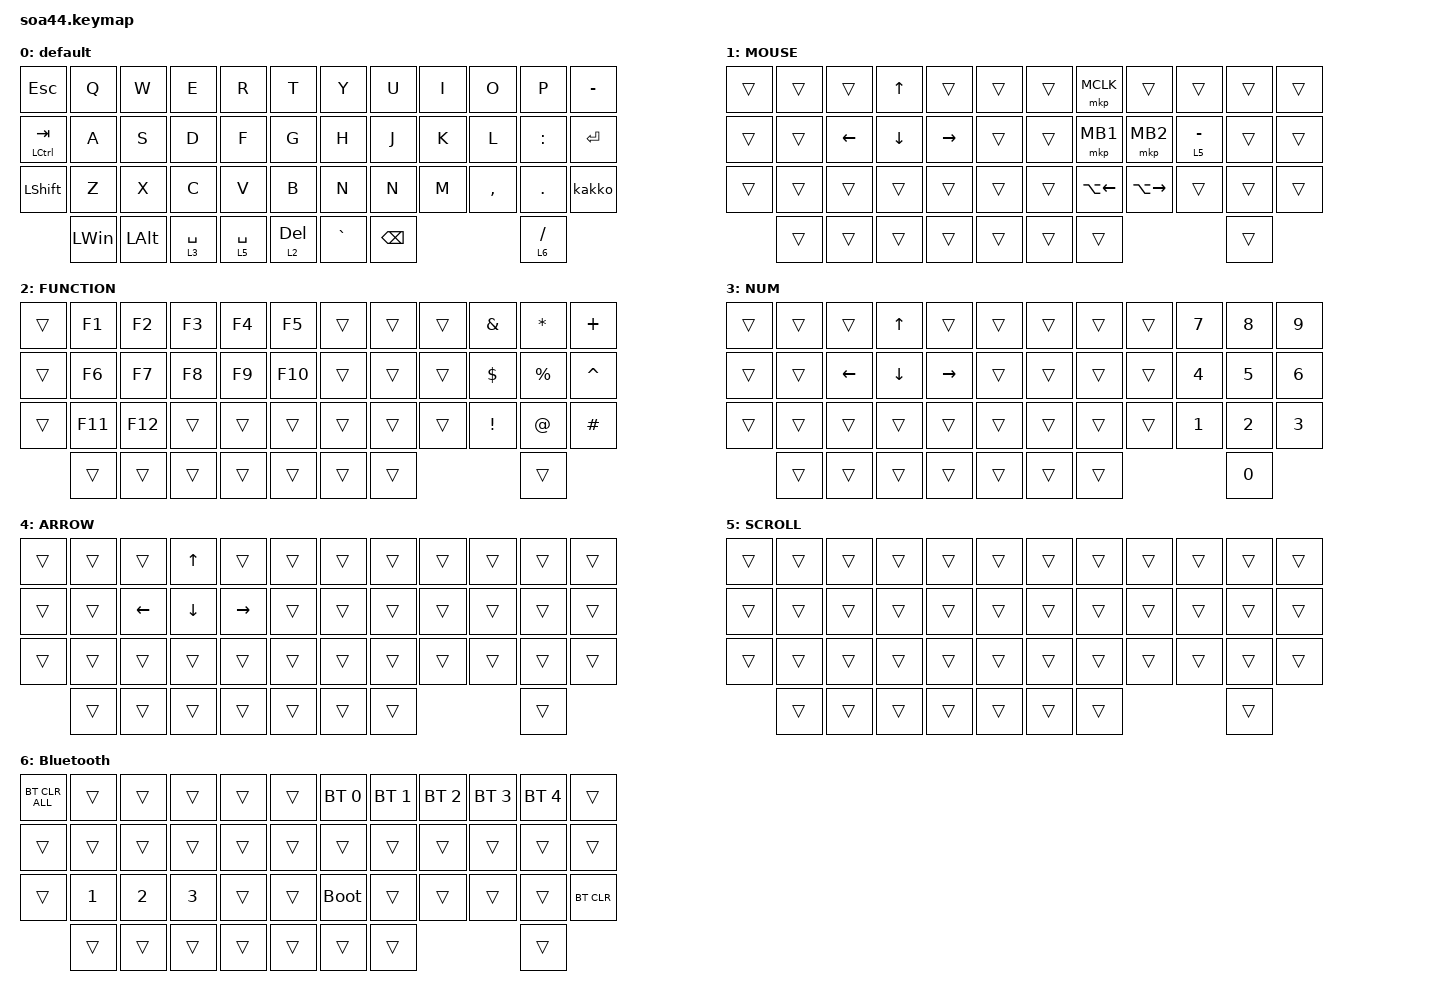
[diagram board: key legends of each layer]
#include <behaviors.dtsi>
#include <dt-bindings/zmk/bt.h>
#include <dt-bindings/zmk/keys.h>
#include <dt-bindings/zmk/pointing.h>

&mt {
    flavor = "balanced";
    quick-tap-ms = <0>;
};

/ {
    combos {
        compatible = "zmk,combos";

        tab {
            bindings = <&kp TAB>;
            key-positions = <11 12>;
        };

        shift_tab {
            bindings = <&kp LS(TAB)>;
            key-positions = <12 13>;
        };

        muhennkann {
            bindings = <&to_layer_0 INT_MUHENKAN>;
            key-positions = <11 10>;
        };

        double_quotation {
            bindings = <&kp DOUBLE_QUOTES>;
            key-positions = <20 21>;
        };

        eq {
            bindings = <&kp EQUAL>;
            key-positions = <24 25>;
        };
    };

    macros {
        to_layer_0: to_layer_0 {
            compatible = "zmk,behavior-macro-one-param";
            #binding-cells = <1>;
            bindings = <&to 0 &macro_param_1to1 &kp MACRO_PLACEHOLDER>;
            label = "TO_LAYER_0";
        };

        kakko: kakko {
            compatible = "zmk,behavior-macro";
            #binding-cells = <0>;
            bindings =
                <&kp LEFT_PARENTHESIS &kp RIGHT_PARENTHESIS>,
                <&macro_tap>,
                <&kp LEFT_ARROW>,
                <&macro_tap>;

            label = "KAKKO";
        };

        nihongo: nihongo {
            compatible = "zmk,behavior-macro";
            #binding-cells = <0>;
            bindings = <&kt LEFT_ALT &kp GRAVE>;
            label = "NIHONGO";
        };
    };

    behaviors {
        lt_to_layer_0: lt_to_layer_0 {
            compatible = "zmk,behavior-hold-tap";
            label = "LAYER_TAP_TO_0";
            bindings = <&mo>, <&to_layer_0>;

            #binding-cells = <2>;
            tapping-term-ms = <200>;
        };
    };

    keymap {
        compatible = "zmk,keymap";

        default {
            bindings = <
&kp ESCAPE      &kp Q         &kp W         &kp E        &kp R        &kp T      &kp Y      &kp U          &kp I  &kp O      &kp P        &kp MINUS
&mt LCTRL TAB   &kp A         &kp S         &kp D        &kp F        &kp G      &kp H      &kp J          &kp K  &kp L      &kp COLON    &kp ENTER
&kp LEFT_SHIFT  &kp Z         &kp X         &kp C        &kp V        &kp B      &kp N      &kp N          &kp M  &kp COMMA  &kp PERIOD   &kakko
                &kp LEFT_WIN  &kp LEFT_ALT  &lt 3 SPACE  &lt 5 SPACE  &lt 2 DEL  &kp GRAVE  &kp BACKSPACE                    &lt 6 SLASH
            >;
        };

        MOUSE {
            bindings = <
&trans  &trans  &trans          &kp UP_ARROW    &trans           &trans  &trans  &mkp MCLK     &trans         &trans       &trans  &trans
&trans  &trans  &kp LEFT_ARROW  &kp DOWN_ARROW  &kp RIGHT_ARROW  &trans  &trans  &mkp MB1      &mkp MB2       &lt 5 MINUS  &trans  &trans
&trans  &trans  &trans          &trans          &trans           &trans  &trans  &kp LA(LEFT)  &kp LA(RIGHT)  &trans       &trans  &trans
        &trans  &trans          &trans          &trans           &trans  &trans  &trans                                    &trans
            >;
        };

        FUNCTION {
            bindings = <
&trans  &kp F1   &kp F2   &kp F3  &kp F4  &kp F5   &trans  &trans  &trans  &kp AMPERSAND  &kp ASTRK    &kp PLUS
&trans  &kp F6   &kp F7   &kp F8  &kp F9  &kp F10  &trans  &trans  &trans  &kp DOLLAR     &kp PERCENT  &kp CARET
&trans  &kp F11  &kp F12  &trans  &trans  &trans   &trans  &trans  &trans  &kp EXCL       &kp AT       &kp HASH
        &trans   &trans   &trans  &trans  &trans   &trans  &trans                         &trans
            >;
        };

        NUM {
            bindings = <
&trans  &trans  &trans          &kp UP_ARROW    &trans           &trans  &trans  &trans  &trans  &kp N7  &kp N8  &kp N9
&trans  &trans  &kp LEFT_ARROW  &kp DOWN_ARROW  &kp RIGHT_ARROW  &trans  &trans  &trans  &trans  &kp N4  &kp N5  &kp N6
&trans  &trans  &trans          &trans          &trans           &trans  &trans  &trans  &trans  &kp N1  &kp N2  &kp N3
        &trans  &trans          &trans          &trans           &trans  &trans  &trans                  &kp N0
            >;
        };

        ARROW {
            bindings = <
&trans  &trans  &trans    &kp UP    &trans     &trans  &trans  &trans  &trans  &trans  &trans  &trans
&trans  &trans  &kp LEFT  &kp DOWN  &kp RIGHT  &trans  &trans  &trans  &trans  &trans  &trans  &trans
&trans  &trans  &trans    &trans    &trans     &trans  &trans  &trans  &trans  &trans  &trans  &trans
        &trans  &trans    &trans    &trans     &trans  &trans  &trans                  &trans
            >;
        };

        SCROLL {
            bindings = <
&trans  &trans  &trans  &trans  &trans  &trans  &trans  &trans  &trans  &trans  &trans  &trans
&trans  &trans  &trans  &trans  &trans  &trans  &trans  &trans  &trans  &trans  &trans  &trans
&trans  &trans  &trans  &trans  &trans  &trans  &trans  &trans  &trans  &trans  &trans  &trans
        &trans  &trans  &trans  &trans  &trans  &trans  &trans                  &trans
            >;
        };

        Bluetooth {
            bindings = <
&bt BT_CLR_ALL  &trans        &trans        &trans        &trans  &trans  &bt BT_SEL 0  &bt BT_SEL 1  &bt BT_SEL 2  &bt BT_SEL 3  &bt BT_SEL 4  &trans
&trans          &trans        &trans        &trans        &trans  &trans  &trans        &trans        &trans        &trans        &trans        &trans
&trans          &kp NUMBER_1  &kp NUMBER_2  &kp NUMBER_3  &trans  &trans  &bootloader   &trans        &trans        &trans        &trans        &bt BT_CLR
                &trans        &trans        &trans        &trans  &trans  &trans        &trans                                    &trans
            >;
        };
    };
};
